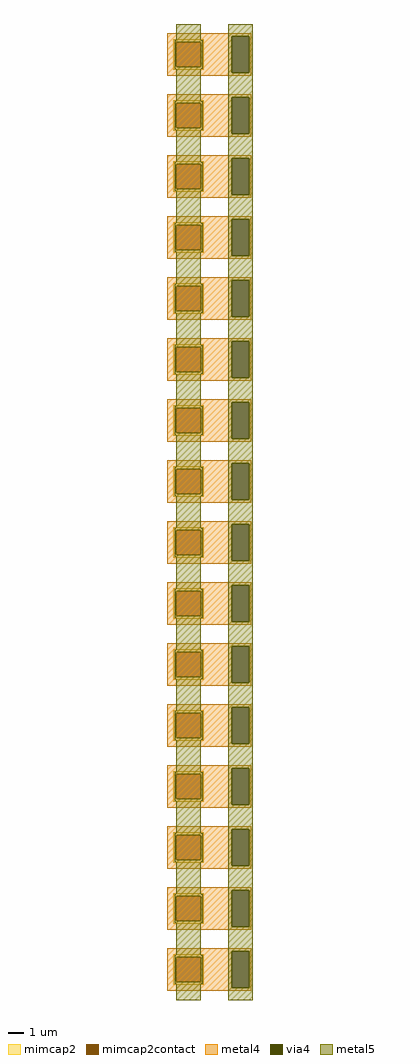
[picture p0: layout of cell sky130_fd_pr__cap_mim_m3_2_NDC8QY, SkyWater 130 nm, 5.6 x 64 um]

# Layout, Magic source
magic
tech sky130A
magscale 1 2
<< metal4 >>
rect -549 6239 549 6280
rect -549 5761 293 6239
rect 529 5761 549 6239
rect -549 5720 549 5761
rect -549 5439 549 5480
rect -549 4961 293 5439
rect 529 4961 549 5439
rect -549 4920 549 4961
rect -549 4639 549 4680
rect -549 4161 293 4639
rect 529 4161 549 4639
rect -549 4120 549 4161
rect -549 3839 549 3880
rect -549 3361 293 3839
rect 529 3361 549 3839
rect -549 3320 549 3361
rect -549 3039 549 3080
rect -549 2561 293 3039
rect 529 2561 549 3039
rect -549 2520 549 2561
rect -549 2239 549 2280
rect -549 1761 293 2239
rect 529 1761 549 2239
rect -549 1720 549 1761
rect -549 1439 549 1480
rect -549 961 293 1439
rect 529 961 549 1439
rect -549 920 549 961
rect -549 639 549 680
rect -549 161 293 639
rect 529 161 549 639
rect -549 120 549 161
rect -549 -161 549 -120
rect -549 -639 293 -161
rect 529 -639 549 -161
rect -549 -680 549 -639
rect -549 -961 549 -920
rect -549 -1439 293 -961
rect 529 -1439 549 -961
rect -549 -1480 549 -1439
rect -549 -1761 549 -1720
rect -549 -2239 293 -1761
rect 529 -2239 549 -1761
rect -549 -2280 549 -2239
rect -549 -2561 549 -2520
rect -549 -3039 293 -2561
rect 529 -3039 549 -2561
rect -549 -3080 549 -3039
rect -549 -3361 549 -3320
rect -549 -3839 293 -3361
rect 529 -3839 549 -3361
rect -549 -3880 549 -3839
rect -549 -4161 549 -4120
rect -549 -4639 293 -4161
rect 529 -4639 549 -4161
rect -549 -4680 549 -4639
rect -549 -4961 549 -4920
rect -549 -5439 293 -4961
rect 529 -5439 549 -4961
rect -549 -5480 549 -5439
rect -549 -5761 549 -5720
rect -549 -6239 293 -5761
rect 529 -6239 549 -5761
rect -549 -6280 549 -6239
<< via4 >>
rect 293 5761 529 6239
rect 293 4961 529 5439
rect 293 4161 529 4639
rect 293 3361 529 3839
rect 293 2561 529 3039
rect 293 1761 529 2239
rect 293 961 529 1439
rect 293 161 529 639
rect 293 -639 529 -161
rect 293 -1439 529 -961
rect 293 -2239 529 -1761
rect 293 -3039 529 -2561
rect 293 -3839 529 -3361
rect 293 -4639 529 -4161
rect 293 -5439 529 -4961
rect 293 -6239 529 -5761
<< mimcap2 >>
rect -469 6160 -69 6200
rect -469 5840 -429 6160
rect -109 5840 -69 6160
rect -469 5800 -69 5840
rect -469 5360 -69 5400
rect -469 5040 -429 5360
rect -109 5040 -69 5360
rect -469 5000 -69 5040
rect -469 4560 -69 4600
rect -469 4240 -429 4560
rect -109 4240 -69 4560
rect -469 4200 -69 4240
rect -469 3760 -69 3800
rect -469 3440 -429 3760
rect -109 3440 -69 3760
rect -469 3400 -69 3440
rect -469 2960 -69 3000
rect -469 2640 -429 2960
rect -109 2640 -69 2960
rect -469 2600 -69 2640
rect -469 2160 -69 2200
rect -469 1840 -429 2160
rect -109 1840 -69 2160
rect -469 1800 -69 1840
rect -469 1360 -69 1400
rect -469 1040 -429 1360
rect -109 1040 -69 1360
rect -469 1000 -69 1040
rect -469 560 -69 600
rect -469 240 -429 560
rect -109 240 -69 560
rect -469 200 -69 240
rect -469 -240 -69 -200
rect -469 -560 -429 -240
rect -109 -560 -69 -240
rect -469 -600 -69 -560
rect -469 -1040 -69 -1000
rect -469 -1360 -429 -1040
rect -109 -1360 -69 -1040
rect -469 -1400 -69 -1360
rect -469 -1840 -69 -1800
rect -469 -2160 -429 -1840
rect -109 -2160 -69 -1840
rect -469 -2200 -69 -2160
rect -469 -2640 -69 -2600
rect -469 -2960 -429 -2640
rect -109 -2960 -69 -2640
rect -469 -3000 -69 -2960
rect -469 -3440 -69 -3400
rect -469 -3760 -429 -3440
rect -109 -3760 -69 -3440
rect -469 -3800 -69 -3760
rect -469 -4240 -69 -4200
rect -469 -4560 -429 -4240
rect -109 -4560 -69 -4240
rect -469 -4600 -69 -4560
rect -469 -5040 -69 -5000
rect -469 -5360 -429 -5040
rect -109 -5360 -69 -5040
rect -469 -5400 -69 -5360
rect -469 -5840 -69 -5800
rect -469 -6160 -429 -5840
rect -109 -6160 -69 -5840
rect -469 -6200 -69 -6160
<< mimcap2contact >>
rect -429 5840 -109 6160
rect -429 5040 -109 5360
rect -429 4240 -109 4560
rect -429 3440 -109 3760
rect -429 2640 -109 2960
rect -429 1840 -109 2160
rect -429 1040 -109 1360
rect -429 240 -109 560
rect -429 -560 -109 -240
rect -429 -1360 -109 -1040
rect -429 -2160 -109 -1840
rect -429 -2960 -109 -2640
rect -429 -3760 -109 -3440
rect -429 -4560 -109 -4240
rect -429 -5360 -109 -5040
rect -429 -6160 -109 -5840
<< metal5 >>
rect -429 6184 -109 6400
rect 251 6239 571 6400
rect -453 6160 -85 6184
rect -453 5840 -429 6160
rect -109 5840 -85 6160
rect -453 5816 -85 5840
rect -429 5384 -109 5816
rect 251 5761 293 6239
rect 529 5761 571 6239
rect 251 5439 571 5761
rect -453 5360 -85 5384
rect -453 5040 -429 5360
rect -109 5040 -85 5360
rect -453 5016 -85 5040
rect -429 4584 -109 5016
rect 251 4961 293 5439
rect 529 4961 571 5439
rect 251 4639 571 4961
rect -453 4560 -85 4584
rect -453 4240 -429 4560
rect -109 4240 -85 4560
rect -453 4216 -85 4240
rect -429 3784 -109 4216
rect 251 4161 293 4639
rect 529 4161 571 4639
rect 251 3839 571 4161
rect -453 3760 -85 3784
rect -453 3440 -429 3760
rect -109 3440 -85 3760
rect -453 3416 -85 3440
rect -429 2984 -109 3416
rect 251 3361 293 3839
rect 529 3361 571 3839
rect 251 3039 571 3361
rect -453 2960 -85 2984
rect -453 2640 -429 2960
rect -109 2640 -85 2960
rect -453 2616 -85 2640
rect -429 2184 -109 2616
rect 251 2561 293 3039
rect 529 2561 571 3039
rect 251 2239 571 2561
rect -453 2160 -85 2184
rect -453 1840 -429 2160
rect -109 1840 -85 2160
rect -453 1816 -85 1840
rect -429 1384 -109 1816
rect 251 1761 293 2239
rect 529 1761 571 2239
rect 251 1439 571 1761
rect -453 1360 -85 1384
rect -453 1040 -429 1360
rect -109 1040 -85 1360
rect -453 1016 -85 1040
rect -429 584 -109 1016
rect 251 961 293 1439
rect 529 961 571 1439
rect 251 639 571 961
rect -453 560 -85 584
rect -453 240 -429 560
rect -109 240 -85 560
rect -453 216 -85 240
rect -429 -216 -109 216
rect 251 161 293 639
rect 529 161 571 639
rect 251 -161 571 161
rect -453 -240 -85 -216
rect -453 -560 -429 -240
rect -109 -560 -85 -240
rect -453 -584 -85 -560
rect -429 -1016 -109 -584
rect 251 -639 293 -161
rect 529 -639 571 -161
rect 251 -961 571 -639
rect -453 -1040 -85 -1016
rect -453 -1360 -429 -1040
rect -109 -1360 -85 -1040
rect -453 -1384 -85 -1360
rect -429 -1816 -109 -1384
rect 251 -1439 293 -961
rect 529 -1439 571 -961
rect 251 -1761 571 -1439
rect -453 -1840 -85 -1816
rect -453 -2160 -429 -1840
rect -109 -2160 -85 -1840
rect -453 -2184 -85 -2160
rect -429 -2616 -109 -2184
rect 251 -2239 293 -1761
rect 529 -2239 571 -1761
rect 251 -2561 571 -2239
rect -453 -2640 -85 -2616
rect -453 -2960 -429 -2640
rect -109 -2960 -85 -2640
rect -453 -2984 -85 -2960
rect -429 -3416 -109 -2984
rect 251 -3039 293 -2561
rect 529 -3039 571 -2561
rect 251 -3361 571 -3039
rect -453 -3440 -85 -3416
rect -453 -3760 -429 -3440
rect -109 -3760 -85 -3440
rect -453 -3784 -85 -3760
rect -429 -4216 -109 -3784
rect 251 -3839 293 -3361
rect 529 -3839 571 -3361
rect 251 -4161 571 -3839
rect -453 -4240 -85 -4216
rect -453 -4560 -429 -4240
rect -109 -4560 -85 -4240
rect -453 -4584 -85 -4560
rect -429 -5016 -109 -4584
rect 251 -4639 293 -4161
rect 529 -4639 571 -4161
rect 251 -4961 571 -4639
rect -453 -5040 -85 -5016
rect -453 -5360 -429 -5040
rect -109 -5360 -85 -5040
rect -453 -5384 -85 -5360
rect -429 -5816 -109 -5384
rect 251 -5439 293 -4961
rect 529 -5439 571 -4961
rect 251 -5761 571 -5439
rect -453 -5840 -85 -5816
rect -453 -6160 -429 -5840
rect -109 -6160 -85 -5840
rect -453 -6184 -85 -6160
rect -429 -6400 -109 -6184
rect 251 -6239 293 -5761
rect 529 -6239 571 -5761
rect 251 -6400 571 -6239
<< properties >>
string FIXED_BBOX -549 5720 11 6280
string gencell sky130_fd_pr__cap_mim_m3_2
string library sky130
string parameters w 2.0 l 2.0 val 9.52 carea 2.00 cperi 0.19 nx 1 ny 16 dummy 0 square 0 lmin 2.00 wmin 2.00 lmax 30.0 wmax 30.0 dc 0 bconnect 1 tconnect 1 ccov 100
<< end >>
